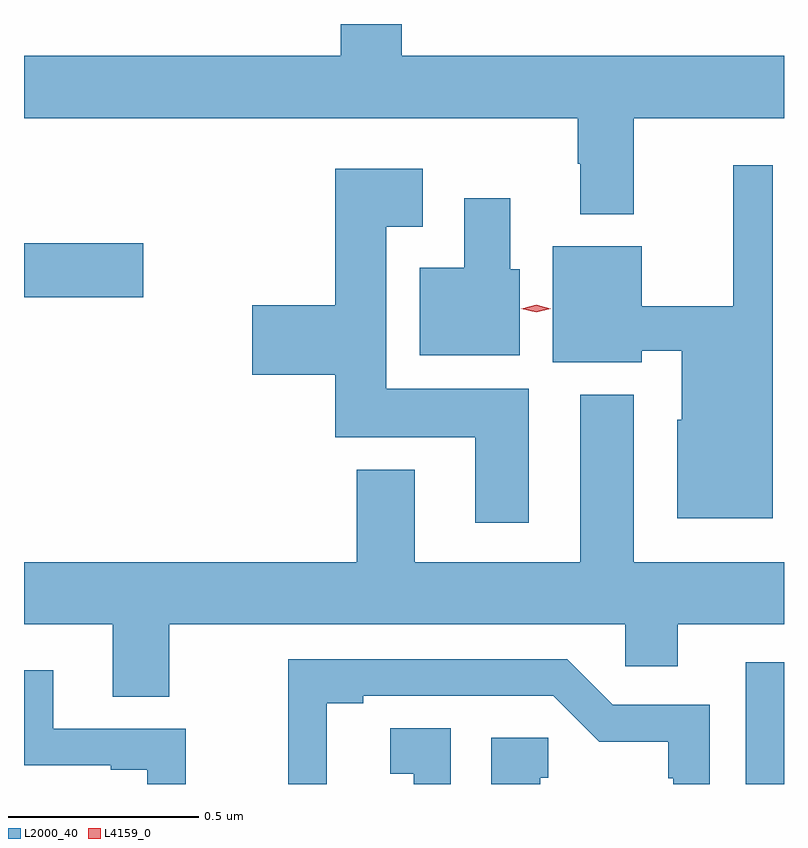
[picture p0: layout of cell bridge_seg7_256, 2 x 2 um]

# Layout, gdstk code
import gdstk
lib = gdstk.Library(unit=1e-6, precision=1e-09)
def R(c, l, rs):  # rectangles x0, y0, x1, y1
    for r in rs: c.add(gdstk.rectangle(r[:2], r[2:], *l))
def P(c, l, *ps):  # polygons
    for p in ps: c.add(gdstk.Polygon(p, *l))
L2000_40 = (2000, 40)
L4159_0 = (4159, 0)

bridge_seg7_256 = lib.new_cell('bridge_seg7_256')
R(bridge_seg7_256, L2000_40, [(227.258,1070.792,227.359,1071.112), (225.359,1072.073,225.673,1072.215)])
P(bridge_seg7_256, L2000_40, [(226.963,1072.544),(227.359,1072.544),(227.359,1072.708),(226.353,1072.708),(226.353,1072.792),(226.193,1072.792),(226.193,1072.708),(225.359,1072.708),(225.359,1072.544),(226.816,1072.544),(226.816,1072.424),(226.823,1072.424),(226.823,1072.292),(226.963,1072.292)],
  [(227.329,1072.42),(227.225,1072.42),(227.225,1072.049),(226.984,1072.049),(226.984,1072.207),(226.751,1072.207),(226.751,1071.902),(226.984,1071.902),(226.984,1071.932),(227.09,1071.932),(227.09,1071.75),(227.078,1071.75),(227.078,1071.491),(227.329,1071.491)],
  [(226.687,1071.832),(226.312,1071.832),(226.312,1072.259),(226.408,1072.259),(226.408,1072.411),(226.178,1072.411),(226.178,1072.052),(225.96,1072.052),(225.96,1071.869),(226.178,1071.869),(226.178,1071.704),(226.547,1071.704),(226.547,1071.48),(226.687,1071.48)],
  [(226.663,1072.146),(226.639,1072.146),(226.639,1072.333),(226.517,1072.333),(226.517,1072.15),(226.4,1072.15),(226.4,1071.92),(226.663,1071.92)],
  [(225.741,1071.212),(226.941,1071.212),(226.941,1071.102),(227.08,1071.102),(227.08,1071.212),(227.359,1071.212),(227.359,1071.376),(226.963,1071.376),(226.963,1071.817),(226.823,1071.817),(226.823,1071.376),(226.387,1071.376),(226.387,1071.619),(226.235,1071.619),(226.235,1071.376),(225.359,1071.376),(225.359,1071.212),(225.593,1071.212),(225.593,1071.022),(225.741,1071.022)],
  [(226.156,1071.004),(226.252,1071.004),(226.252,1071.024),(226.752,1071.024),(226.873,1070.903),(227.055,1070.903),(227.055,1070.807),(227.067,1070.807),(227.067,1070.792),(227.163,1070.792),(227.163,1071),(226.908,1071),(226.788,1071.12),(226.054,1071.12),(226.054,1070.792),(226.156,1070.792)],
  [(225.785,1070.937),(225.436,1070.937),(225.436,1071.091),(225.359,1071.091),(225.359,1070.841),(225.587,1070.841),(225.587,1070.829),(225.683,1070.829),(225.683,1070.792),(225.785,1070.792)],
  [(226.482,1070.939),(226.323,1070.939),(226.323,1070.819),(226.384,1070.819),(226.384,1070.792),(226.482,1070.792)],
  [(226.717,1070.808),(226.739,1070.808),(226.739,1070.914),(226.589,1070.914),(226.589,1070.792),(226.717,1070.792)])
P(bridge_seg7_256, L4159_0, [(226.707,1072.033),(226.668,1072.043),(226.668,1072.043),(226.668,1072.043),(226.707,1072.053),(226.745,1072.043),(226.745,1072.043),(226.745,1072.043)])

lib.write_gds('bridge_seg7_256.gds')
